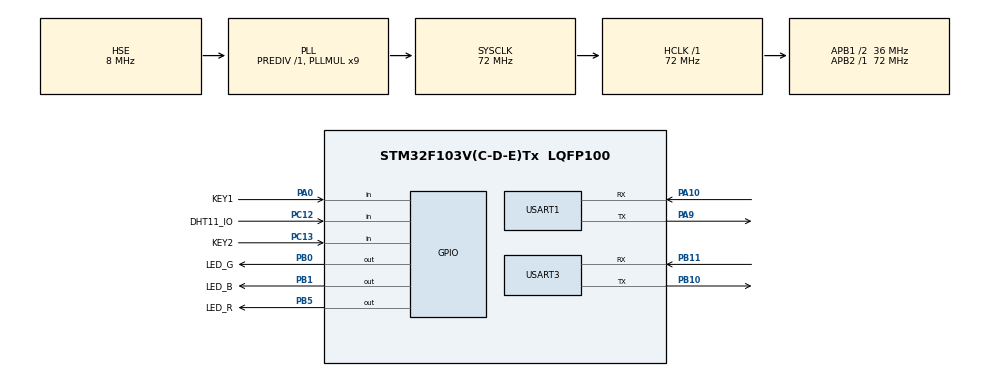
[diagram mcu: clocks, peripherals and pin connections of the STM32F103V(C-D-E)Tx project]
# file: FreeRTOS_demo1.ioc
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FREERTOS.Tasks01=defaultTask,24,128,StartDefaultTask,Default,NULL,Dynamic,NULL,NULL
Mcu.Family=STM32F1
Mcu.Name=STM32F103V(C-D-E)Tx
Mcu.Package=LQFP100
NVIC.PriorityGroup=NVIC_PRIORITYGROUP_4
NVIC.TIM8_UP_IRQn=true\:15\:0\:false\:false\:true\:false\:false\:true\:true
NVIC.TimeBase=TIM8_UP_IRQn
NVIC.TimeBaseIP=TIM8
NVIC.USART3_IRQn=true\:5\:0\:false\:false\:true\:true\:true\:true\:true
OSC_IN.Mode=HSE-External-Oscillator
OSC_IN.Signal=RCC_OSC_IN
OSC_OUT.Mode=HSE-External-Oscillator
OSC_OUT.Signal=RCC_OSC_OUT
PA0-WKUP.GPIO_Label=KEY1
PA0-WKUP.GPIO_PuPd=GPIO_PULLDOWN
PA0-WKUP.Signal=GPIO_Input
PA10.Mode=Asynchronous
PA10.Signal=USART1_RX
PA13.Mode=JTAG_5_pins
PA13.Signal=SYS_JTMS-SWDIO
PA14.Mode=JTAG_5_pins
PA14.Signal=SYS_JTCK-SWCLK
PA15.Mode=JTAG_5_pins
PA15.Signal=SYS_JTDI
PA9.Mode=Asynchronous
PA9.Signal=USART1_TX
PB0.GPIO_Label=LED_G
PB0.PinState=GPIO_PIN_SET
PB0.Signal=GPIO_Output
PB1.GPIO_Label=LED_B
PB1.PinState=GPIO_PIN_SET
PB1.Signal=GPIO_Output
PB10.Mode=Asynchronous
PB10.Signal=USART3_TX
PB11.Mode=Asynchronous
PB11.Signal=USART3_RX
PB3.Mode=JTAG_5_pins
PB3.Signal=SYS_JTDO-TRACESWO
PB4.Mode=JTAG_5_pins
PB4.Signal=SYS_NJTRST
PB5.GPIO_Label=LED_R
PB5.PinState=GPIO_PIN_SET
PB5.Signal=GPIO_Output
PC12.GPIO_Label=DHT11_IO
PC12.GPIO_PuPd=GPIO_PULLUP
PC12.Signal=GPIO_Input
PC13-TAMPER-RTC.GPIO_Label=KEY2
PC13-TAMPER-RTC.GPIO_PuPd=GPIO_PULLDOWN
PC13-TAMPER-RTC.Signal=GPIO_Input
PC14-OSC32_IN.Mode=LSE-External-Oscillator
PC14-OSC32_IN.Signal=RCC_OSC32_IN
PC15-OSC32_OUT.Mode=LSE-External-Oscillator
PC15-OSC32_OUT.Signal=RCC_OSC32_OUT
ProjectManager.HeapSize=0x200
ProjectManager.StackSize=0x400
ProjectManager.TargetToolchain=MDK-ARM V5.32
RCC.AHBFreq_Value=72000000
RCC.APB1CLKDivider=RCC_HCLK_DIV2
RCC.APB1Freq_Value=36000000
RCC.APB1TimFreq_Value=72000000
RCC.APB2Freq_Value=72000000
RCC.APB2TimFreq_Value=72000000
RCC.HCLKFreq_Value=72000000
RCC.PLLMUL=RCC_PLL_MUL9
RCC.PLLSourceVirtual=RCC_PLLSOURCE_HSE
RCC.SYSCLKFreq_VALUE=72000000
RCC.SYSCLKSource=RCC_SYSCLKSOURCE_PLLCLK
RCC.USBFreq_Value=72000000
USART1.VirtualMode=VM_ASYNC
USART3.VirtualMode=VM_ASYNC
VP_FREERTOS_VS_CMSIS_V2.Mode=CMSIS_V2
VP_SYS_VS_tim8.Mode=TIM8
board=custom

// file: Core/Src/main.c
/* USER CODE BEGIN Header */
/**
  ******************************************************************************
  * @file           : main.c
  * @brief          : Main program body
  ******************************************************************************
  * @attention
  *
  * Copyright (c) 2024 STMicroelectronics.
  * All rights reserved.
  *
  * This software is licensed under terms that can be found in the LICENSE file
  * in the root directory of this software component.
  * If no LICENSE file comes with this software, it is provided AS-IS.
  *
  ******************************************************************************
  */
/* USER CODE END Header */
#include "main.h"
#include "cmsis_os.h"
#include "usart.h"
#include "gpio.h"

/* USER CODE BEGIN Includes */
#include "driver_usart.h"
#include "driver_key.h"
#include <stdio.h>
#include <platform_mutex.h>
#include <stm32_uart3.h>
#include "at_command.h"

/* USER CODE END Includes */

void SystemClock_Config(void);
void MX_FREERTOS_Init(void);

/* USER CODE BEGIN 0 */

ring_buffer test_buffer;

/* USER CODE END 0 */

int main(void)
{

  /* MCU Configuration--------------------------------------------------------*/

  /* Reset of all peripherals, Initializes the Flash interface and the Systick. */
  HAL_Init();

  /* Configure the system clock */
  SystemClock_Config();

  /* Initialize all configured peripherals */
  MX_GPIO_Init();
  MX_USART1_UART_Init();
  MX_USART3_UART_Init();
  /* USER CODE BEGIN 2 */

	KEY_GPIO_ReInit();

    ring_buffer_init(&test_buffer);
	UART3_Lock_Init();

    EnableDebugIRQ();
	EnableUART3IRQ();
    printf("Hello World!\r\n");

  /* USER CODE END 2 */

  /* Init scheduler */
  osKernelInitialize();

  /* Call init function for freertos objects (in freertos.c) */
  MX_FREERTOS_Init();

  /* Start scheduler */
    ATInit();
  osKernelStart();

  /* We should never get here as control is now taken by the scheduler */
  /* Infinite loop */
  while (1)
  {

  }
}

void SystemClock_Config(void)
{
  RCC_OscInitTypeDef RCC_OscInitStruct = {0};
  RCC_ClkInitTypeDef RCC_ClkInitStruct = {0};

  /** Initializes the RCC Oscillators according to the specified parameters
  * in the RCC_OscInitTypeDef structure.
  */
  RCC_OscInitStruct.OscillatorType = RCC_OSCILLATORTYPE_HSE;
  RCC_OscInitStruct.HSEState = RCC_HSE_ON;
  RCC_OscInitStruct.HSEPredivValue = RCC_HSE_PREDIV_DIV1;
  RCC_OscInitStruct.HSIState = RCC_HSI_ON;
  RCC_OscInitStruct.PLL.PLLState = RCC_PLL_ON;
  RCC_OscInitStruct.PLL.PLLSource = RCC_PLLSOURCE_HSE;
  RCC_OscInitStruct.PLL.PLLMUL = RCC_PLL_MUL9;
  if (HAL_RCC_OscConfig(&RCC_OscInitStruct) != HAL_OK)
  {
    Error_Handler();
  }

  /** Initializes the CPU, AHB and APB buses clocks
  */
  RCC_ClkInitStruct.ClockType = RCC_CLOCKTYPE_HCLK|RCC_CLOCKTYPE_SYSCLK
                              |RCC_CLOCKTYPE_PCLK1|RCC_CLOCKTYPE_PCLK2;
  RCC_ClkInitStruct.SYSCLKSource = RCC_SYSCLKSOURCE_PLLCLK;
  RCC_ClkInitStruct.AHBCLKDivider = RCC_SYSCLK_DIV1;
  RCC_ClkInitStruct.APB1CLKDivider = RCC_HCLK_DIV2;
  RCC_ClkInitStruct.APB2CLKDivider = RCC_HCLK_DIV1;

  if (HAL_RCC_ClockConfig(&RCC_ClkInitStruct, FLASH_LATENCY_2) != HAL_OK)
  {
    Error_Handler();
  }
}

void HAL_TIM_PeriodElapsedCallback(TIM_HandleTypeDef *htim)
{
  if (htim->Instance == TIM8) {
    HAL_IncTick();
  }
}

void Error_Handler(void)
{
  __disable_irq();
  while (1)
  {
  }
}

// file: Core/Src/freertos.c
/* USER CODE BEGIN Header */
/**
  ******************************************************************************
  * File Name          : freertos.c
  * Description        : Code for freertos applications
  ******************************************************************************
  * @attention
  *
  * Copyright (c) 2024 STMicroelectronics.
  * All rights reserved.
  *
  * This software is licensed under terms that can be found in the LICENSE file
  * in the root directory of this software component.
  * If no LICENSE file comes with this software, it is provided AS-IS.
  *
  ******************************************************************************
  */
/* USER CODE END Header */

#include "FreeRTOS.h"
#include "task.h"
#include "main.h"
#include "cmsis_os.h"

/* USER CODE BEGIN Includes */
#include <stdio.h>
#include <at_command.h>

/* USER CODE END Includes */

/* Definitions for defaultTask */
osThreadId_t defaultTaskHandle;
const osThreadAttr_t defaultTask_attributes = {
  .name = "defaultTask",
  .stack_size = 512 * 4,
  .priority = (osPriority_t) osPriorityNormal,
};

void StartDefaultTask(void *argument);

void MX_FREERTOS_Init(void); /* (MISRA C 2004 rule 8.1) */

void MX_FREERTOS_Init(void) {

  /* Create the thread(s) */
  /* creation of defaultTask */
  defaultTaskHandle = osThreadNew(StartDefaultTask, NULL, &defaultTask_attributes);

  /* USER CODE BEGIN RTOS_THREADS */
  /* add threads, ... */

  osThreadNew(ATRecvParser, NULL, &defaultTask_attributes);
  osThreadNew(MQTT_Client_Task, NULL, &defaultTask_attributes);

  /* USER CODE END RTOS_THREADS */

}

void StartDefaultTask(void *argument)
{
  /* USER CODE BEGIN StartDefaultTask */
      printf("StartDefaultTask\r\n");
  /* Infinite loop */
  for(;;)
  {
    osDelay(1);
  }
  /* USER CODE END StartDefaultTask */
}
